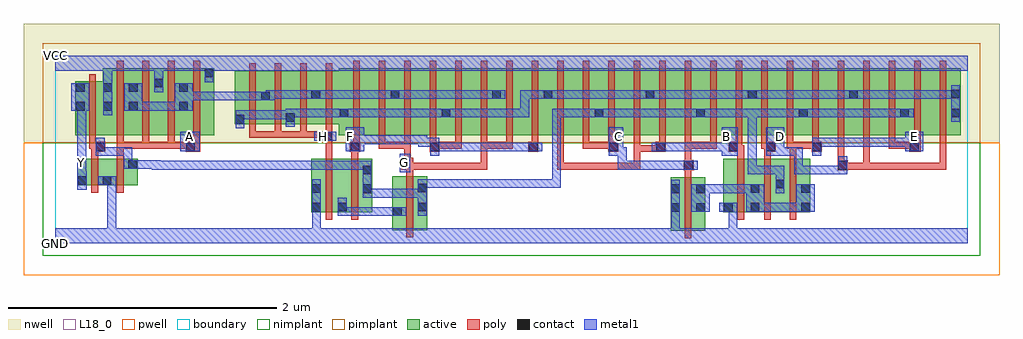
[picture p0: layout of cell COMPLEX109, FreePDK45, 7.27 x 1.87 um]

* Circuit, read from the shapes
.subckt COMPLEX109 A B C D E F G GND H VCC Y
M1 GND n1 Y VSUBS nfet w=0.2u l=0.05u
M2 n1 A GND VSUBS nfet w=0.2u l=0.05u
M3 n2 H GND VSUBS nfet w=0.4u l=0.05u
M4 n1 F n2 VSUBS nfet w=0.4u l=0.05u
M5 n1 G n2 VSUBS nfet w=0.4u l=0.05u
M6 n3 C GND VSUBS nfet w=0.4u l=0.05u
M7 n3 B GND VSUBS nfet w=0.4u l=0.05u
M8 n1 D n3 VSUBS nfet w=0.4u l=0.05u
M9 n3 E n1 VSUBS nfet w=0.4u l=0.05u
M10 VCC n1 Y n4 pfet w=0.4u l=0.05u
M11 n5 A VCC n4 pfet w=0.5u l=0.05u m=4
M12 n5 H n6 n4 pfet w=0.4u l=0.05u m=4
M13 n7 F n6 n4 pfet w=0.5u l=0.05u
M14 n5 G n7 n4 pfet w=0.5u l=0.05u
M15 n8 G n5 n4 pfet w=0.5u l=0.05u
M16 n6 F n8 n4 pfet w=0.5u l=0.05u
M17 n9 F n6 n4 pfet w=0.5u l=0.05u
M18 n5 G n9 n4 pfet w=0.5u l=0.05u
M19 n10 G n5 n4 pfet w=0.5u l=0.05u
M20 n6 F n10 n4 pfet w=0.5u l=0.05u
M21 n11 B n6 n4 pfet w=0.5u l=0.05u
M22 n1 C n11 n4 pfet w=0.5u l=0.05u
M23 n12 C n1 n4 pfet w=0.5u l=0.05u
M24 n6 B n12 n4 pfet w=0.5u l=0.05u
M25 n13 B n6 n4 pfet w=0.5u l=0.05u
M26 n1 C n13 n4 pfet w=0.5u l=0.05u
M27 n14 C n1 n4 pfet w=0.5u l=0.05u
M28 n6 B n14 n4 pfet w=0.5u l=0.05u
M29 n15 D n6 n4 pfet w=0.5u l=0.05u
M30 n1 E n15 n4 pfet w=0.5u l=0.05u
M31 n16 E n1 n4 pfet w=0.5u l=0.05u
M32 n6 D n16 n4 pfet w=0.5u l=0.05u
M33 n17 D n6 n4 pfet w=0.5u l=0.05u
M34 n1 E n17 n4 pfet w=0.5u l=0.05u
M35 n18 E n1 n4 pfet w=0.5u l=0.05u
M36 n6 D n18 n4 pfet w=0.5u l=0.05u
.ends

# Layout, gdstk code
import gdstk
lib = gdstk.Library(unit=1e-6, precision=1e-09)
def R(c, l, rs):  # rectangles x0, y0, x1, y1
    for r in rs: c.add(gdstk.rectangle(r[:2], r[2:], *l))
def A(c, l, x, y, w, h, nx, ny, dx, dy):  # array of equal rectangles
    R(c, l, [(x+i*dx, y+j*dy, x+i*dx+w, y+j*dy+h) for i in range(nx) for j in range(ny)])
active = (1, 0)
pwell = (2, 0)
nwell = (3, 0)
nimplant = (4, 0)
pimplant = (5, 0)
poly = (9, 0)
contact = (10, 0)
metal1 = (11, 0)
L18_0 = (18, 0)
boundary = (235, 0)

complex109 = lib.new_cell('COMPLEX109')
A(complex109, active, 2.115, 0.807, 0.225, 0.5, 3, 1, 0.38, 0)
A(complex109, active, 3.48, 0.807, 0.23, 0.5, 3, 1, 0.38, 0)
A(complex109, active, 3.635, 0.807, 0.075, 0.393, 3, 1, 0.76, 0)
A(complex109, active, 3.635, 0.807, 0.225, 0.5, 3, 1, 0.38, 0)
A(complex109, active, 5.76, 0.807, 0.225, 0.5, 3, 1, 0.38, 0)
R(complex109, active, [(4.585,0.095,4.845,0.495), (4.585,0.095,4.66,0.495), (2.512,0.1,2.772,0.5), (2.512,0.2,2.587,0.377), (2.697,0.2,2.772,0.5), (4.77,0.2,4.845,0.495), (1.91,0.232,1.985,0.492), (1.91,0.232,2.177,0.632), (2.102,0.232,2.177,0.492), (2.102,0.232,2.362,0.632), (4.977,0.232,5.052,0.492), (4.977,0.232,5.252,0.632), (5.177,0.232,5.252,0.492), (5.177,0.232,5.437,0.632), (5.362,0.232,5.627,0.632), (5.552,0.232,5.627,0.492), (2.287,0.295,2.362,0.632), (5.362,0.295,5.437,0.632), (0.165,0.432,0.24,0.632), (0.165,0.432,0.425,0.632), (0.35,0.432,0.615,0.632), (0.35,0.432,0.425,0.507), (0.54,0.432,0.615,0.632), (0.15,0.807,0.225,1.2), (0.15,0.807,0.43,1.207), (0.355,0.807,0.43,1.307), (0.355,0.807,0.62,1.307), (0.545,0.807,0.62,1.2), (0.545,0.807,0.81,1.307), (0.735,0.807,0.81,1.307), (0.735,0.807,0.995,1.307), (0.92,0.807,0.995,1.2), (0.92,0.807,1.185,1.307), (1.11,0.807,1.185,1.307), (2.34,0.807,2.57,1.307), (2.495,0.807,2.57,1.2), (2.72,0.807,2.95,1.307), (2.875,0.807,2.95,1.07), (3.1,0.807,3.325,1.307), (3.25,0.807,3.325,1.2), (3.25,0.807,3.48,1.307), (4.015,0.807,4.09,1.07), (4.62,0.807,4.845,1.307), (4.77,0.807,5,1.307), (4.77,0.807,4.845,1.07), (5,0.807,5.23,1.307), (5.155,0.807,5.38,1.307), (5.38,0.807,5.61,1.307), (5.535,0.807,5.76,1.307), (5.535,0.807,5.61,1.07), (5.91,0.807,5.985,1.2), (5.91,0.807,6.14,1.307), (6.29,0.807,6.52,1.307), (6.29,0.807,6.365,1.07), (6.67,0.807,6.745,1.2), (1.34,0.887,1.605,1.287), (1.34,0.887,1.415,1.047), (1.53,0.887,1.79,1.287), (1.715,0.887,1.98,1.287), (1.905,0.887,2.19,1.287), (1.53,0.9,1.605,1.2), (1.715,0.9,1.79,1.07), (1.905,0.907,1.98,1.2), (2.115,0.907,2.19,1.07)])
R(complex109, pwell, [(-0.235,-0.235,7.035,0.75)])
R(complex109, nwell, [(-0.235,0.75,7.035,1.635)])
R(complex109, nimplant, [(-0.09,-0.09,6.89,0.75)])
R(complex109, pimplant, [(-0.09,0.75,6.89,1.49)])
A(complex109, poly, 0.46, 0.707, 0.05, 0.095, 4, 1, 0.19, 0)
A(complex109, poly, 2.22, 0.707, 0.05, 0.05, 3, 1, 0.19, 0)
A(complex109, poly, 2.22, 0.707, 0.05, 0.095, 8, 1, 0.19, 0)
A(complex109, poly, 2.41, 0.707, 0.24, 0.05, 4, 1, 0.76, 0)
A(complex109, poly, 2.98, 0.707, 0.05, 0.05, 3, 1, 0.19, 0)
A(complex109, poly, 4.5, 0.707, 0.05, 0.095, 7, 1, 0.19, 0)
A(complex109, poly, 0.46, 0.752, 0.05, 0.61, 4, 1, 0.19, 0)
A(complex109, poly, 2.22, 0.752, 0.05, 0.61, 24, 1, 0.19, 0)
A(complex109, poly, 1.445, 0.787, 0.05, 0.095, 4, 1, 0.19, 0)
A(complex109, poly, 1.445, 0.787, 0.24, 0.05, 3, 1, 0.19, 0)
A(complex109, poly, 1.445, 0.832, 0.05, 0.51, 4, 1, 0.19, 0)
R(complex109, poly, [(4.69,0.04,4.74,0.55), (2.617,0.045,2.667,0.555), (2.015,0.177,2.065,0.687), (2.207,0.177,2.257,0.687), (5.082,0.177,5.132,0.687), (5.282,0.177,5.332,0.687), (5.472,0.177,5.522,0.687), (0.27,0.377,0.32,0.687), (0.46,0.377,0.51,0.687), (4.69,0.5,4.74,0.595), (2.617,0.505,2.667,0.6), (4.682,0.545,4.757,0.62), (5.83,0.545,5.905,0.62), (2.577,0.55,2.667,0.637), (2.617,0.55,2.872,0.6), (2.822,0.55,2.872,0.6), (2.822,0.55,2.872,0.6), (2.822,0.55,2.872,0.6), (2.822,0.55,3.087,0.6), (3.037,0.55,3.087,0.6), (3.037,0.55,3.087,0.6), (3.037,0.55,3.087,0.6), (3.037,0.55,3.22,0.6), (3.17,0.55,3.22,0.6), (3.17,0.55,3.22,0.6), (3.17,0.55,3.22,0.6), (3.17,0.55,3.22,0.757), (3.74,0.55,3.79,0.802), (3.74,0.55,3.79,0.6), (3.74,0.55,3.79,0.6), (3.74,0.55,3.79,0.6), (3.74,0.55,3.79,0.6), (3.74,0.55,3.79,0.6), (3.74,0.55,3.98,0.6), (3.93,0.55,3.98,0.6), (3.93,0.55,4.112,0.6), (4.062,0.55,4.112,0.6), (4.062,0.55,4.112,0.6), (4.062,0.55,4.112,0.6), (4.062,0.55,4.36,0.6), (4.31,0.55,4.36,0.6), (4.31,0.55,4.36,0.732), (5.855,0.55,5.905,0.6), (5.855,0.55,5.905,0.6), (5.855,0.55,6.07,0.6), (6.02,0.55,6.07,0.802), (6.02,0.55,6.07,0.6), (6.02,0.55,6.07,0.6), (6.02,0.55,6.07,0.6), (6.02,0.55,6.202,0.6), (6.152,0.55,6.202,0.6), (6.152,0.55,6.202,0.6), (6.152,0.55,6.202,0.6), (6.152,0.55,6.392,0.6), (6.342,0.55,6.392,0.6), (6.342,0.55,6.392,0.6), (6.342,0.55,6.392,0.6), (6.342,0.55,6.64,0.6), (6.59,0.55,6.64,0.802), (6.59,0.55,6.64,0.6), (6.59,0.55,6.64,0.6), (6.59,0.55,6.64,0.6), (6.59,0.55,6.64,0.6), (6.59,0.55,6.64,0.6), (4.69,0.57,4.74,0.757), (5.83,0.57,5.88,0.62), (5.83,0.57,5.88,0.62), (5.83,0.57,5.88,0.802), (2.6,0.587,2.65,0.757), (0.27,0.637,0.32,0.732), (0.46,0.637,0.51,0.757), (2.015,0.637,2.065,0.812), (2.207,0.637,2.257,0.732), (5.082,0.637,5.132,0.732), (5.282,0.637,5.332,0.732), (5.472,0.637,5.522,0.757), (0.27,0.682,0.375,0.757), (0.972,0.682,1.08,0.757), (2.197,0.682,2.272,0.757), (2.79,0.682,2.865,0.757), (3.525,0.682,3.6,0.757), (4.12,0.682,4.195,0.757), (4.31,0.682,4.36,0.732), (4.31,0.682,4.36,0.732), (4.31,0.682,4.36,0.732), (4.31,0.682,4.525,0.732), (4.31,0.682,4.36,0.802), (4.475,0.682,4.525,0.732), (4.475,0.682,4.525,0.732), (4.475,0.682,4.55,0.757), (5.017,0.682,5.12,0.757), (5.07,0.682,5.12,0.732), (5.07,0.682,5.132,0.732), (5.282,0.682,5.367,0.757), (5.637,0.682,5.712,0.757), (6.362,0.682,6.45,0.757), (0.255,0.707,0.305,0.802), (0.255,0.707,0.32,0.757), (0.27,0.707,0.32,0.757), (0.46,0.707,0.51,0.757), (0.46,0.707,0.51,0.757), (0.46,0.707,0.51,0.757), (0.46,0.707,0.51,0.757), (0.46,0.707,0.51,0.757), (0.46,0.707,0.7,0.757), (0.65,0.707,0.7,0.757), (0.65,0.707,0.7,0.757), (0.65,0.707,0.7,0.757), (0.65,0.707,0.89,0.757), (0.84,0.707,0.89,0.757), (0.84,0.707,0.89,0.757), (0.84,0.707,0.89,0.757), (0.84,0.707,1.022,0.757), (2.22,0.707,2.27,0.757), (2.6,0.707,2.65,0.757), (2.6,0.707,2.65,0.757), (2.815,0.707,3.03,0.757), (2.98,0.707,3.03,0.757), (2.98,0.707,3.03,0.757), (3.36,0.707,3.41,0.757), (3.36,0.707,3.41,0.757), (3.93,0.707,3.98,0.757), (3.93,0.707,3.98,0.757), (3.93,0.707,3.98,0.757), (3.93,0.707,3.98,0.802), (4.12,0.707,4.17,0.802), (4.69,0.707,4.74,0.757), (4.88,0.707,4.93,0.757), (4.88,0.707,4.93,0.757), (4.88,0.707,4.93,0.757), (5.26,0.707,5.332,0.757), (5.282,0.707,5.332,0.757), (5.45,0.707,5.522,0.757), (5.472,0.707,5.522,0.757), (5.472,0.707,5.522,0.757), (5.472,0.707,5.522,0.757), (5.472,0.707,5.522,0.757), (5.472,0.707,5.687,0.757), (6.21,0.707,6.26,0.757), (6.21,0.707,6.26,0.802), (6.21,0.707,6.412,0.757), (6.362,0.707,6.412,0.757), (6.362,0.707,6.412,0.757), (6.4,0.707,6.45,0.802), (0.255,0.752,0.305,1.262), (1.99,0.762,2.065,0.837), (1.445,0.787,1.495,0.837), (1.635,0.787,1.685,0.837), (1.635,0.787,1.685,0.837), (1.635,0.787,1.685,0.837), (1.825,0.787,1.875,0.837), (1.825,0.787,1.875,0.837), (1.825,0.787,1.875,0.837), (2.015,0.787,2.065,0.837), (2.015,0.787,2.065,0.837), (2.015,0.787,2.065,0.837), (2.015,0.787,2.065,0.837)])
A(complex109, contact, 3.64, 1.077, 0.065, 0.065, 3, 1, 0.76, 0)
R(complex109, contact, [(2.517,0.205,2.582,0.27), (4.59,0.235,4.655,0.3), (4.775,0.235,4.84,0.3), (1.915,0.237,1.98,0.302), (4.982,0.237,5.047,0.302), (5.182,0.237,5.247,0.302), (5.557,0.237,5.622,0.302), (2.107,0.24,2.172,0.305), (2.702,0.24,2.767,0.305), (2.292,0.375,2.357,0.44), (4.59,0.375,4.655,0.44), (4.775,0.375,4.84,0.44), (1.915,0.377,1.98,0.442), (5.182,0.377,5.247,0.442), (5.557,0.377,5.622,0.442), (2.702,0.38,2.767,0.445), (5.367,0.41,5.432,0.475), (0.17,0.437,0.235,0.502), (0.355,0.437,0.42,0.502), (2.292,0.515,2.357,0.58), (4.687,0.55,4.752,0.615), (5.835,0.55,5.9,0.615), (0.545,0.555,0.61,0.62), (2.582,0.567,2.647,0.632), (0.305,0.687,0.37,0.752), (0.977,0.687,1.042,0.752), (2.202,0.687,2.267,0.752), (2.795,0.687,2.86,0.752), (3.53,0.687,3.595,0.752), (4.125,0.687,4.19,0.752), (4.48,0.687,4.545,0.752), (5.022,0.687,5.087,0.752), (5.297,0.687,5.362,0.752), (5.642,0.687,5.707,0.752), (6.367,0.687,6.432,0.752), (1.995,0.767,2.06,0.832), (1.345,0.892,1.41,0.957), (1.72,0.905,1.785,0.97), (2.12,0.94,2.185,1.005), (2.88,0.94,2.945,1.005), (4.02,0.94,4.085,1.005), (4.775,0.94,4.84,1.005), (5.54,0.94,5.605,1.005), (6.295,0.94,6.36,1.005), (6.675,0.94,6.74,1.005), (0.155,0.99,0.22,1.055), (0.36,0.99,0.425,1.055), (0.55,0.99,0.615,1.055), (0.925,0.99,0.99,1.055), (1.535,1.065,1.6,1.13), (1.91,1.077,1.975,1.142), (2.5,1.077,2.565,1.142), (3.255,1.077,3.32,1.142), (5.915,1.077,5.98,1.142), (6.675,1.08,6.74,1.145), (0.155,1.13,0.22,1.195), (0.36,1.13,0.425,1.195), (0.55,1.13,0.615,1.195), (0.925,1.13,0.99,1.195), (0.74,1.162,0.805,1.227), (1.115,1.237,1.18,1.302)])
A(complex109, metal1, 3.605, 1.077, 0.135, 0.065, 3, 1, 0.76, 0)
R(complex109, metal1, [(0,0,6.8,0.115), (0.39,0.05,0.455,0.115), (0.39,0.05,0.455,0.115), (0.39,0.05,0.455,0.502), (1.915,0.05,1.98,0.267), (4.59,0.05,4.655,0.265), (5.017,0.05,5.082,0.302), (4.59,0.2,4.655,0.475), (1.915,0.202,1.98,0.477), (2.107,0.205,2.172,0.27), (2.107,0.205,2.172,0.27), (2.107,0.205,2.172,0.34), (2.107,0.205,2.357,0.27), (2.292,0.205,2.357,0.27), (2.292,0.205,2.46,0.27), (2.395,0.205,2.46,0.27), (2.395,0.205,2.547,0.27), (2.482,0.205,2.617,0.27), (2.702,0.205,2.767,0.48), (4.74,0.235,4.875,0.44), (4.947,0.237,5.082,0.302), (5.147,0.237,5.282,0.442), (5.217,0.237,5.42,0.302), (5.355,0.237,5.42,0.302), (5.355,0.237,5.42,0.302), (5.355,0.237,5.42,0.302), (5.355,0.237,5.57,0.302), (5.505,0.237,5.57,0.302), (5.505,0.237,5.587,0.302), (5.522,0.237,5.657,0.442), (2.292,0.34,2.357,0.615), (2.292,0.342,2.462,0.407), (2.397,0.342,2.462,0.407), (2.397,0.342,2.63,0.407), (2.565,0.342,2.63,0.407), (2.565,0.342,2.63,0.407), (2.565,0.342,2.63,0.407), (2.565,0.342,2.767,0.407), (4.81,0.375,4.875,0.44), (4.81,0.375,4.875,0.44), (4.81,0.375,5.052,0.44), (4.987,0.375,5.052,0.44), (4.987,0.375,5.052,0.44), (4.987,0.375,5.052,0.44), (4.987,0.375,5.212,0.44), (5.367,0.375,5.432,0.51), (0.167,0.402,0.235,0.537), (2.702,0.415,2.767,0.48), (2.702,0.415,2.767,0.48), (2.702,0.415,2.997,0.48), (2.932,0.415,2.997,0.48), (2.932,0.415,2.997,0.48), (2.932,0.415,2.997,0.48), (2.932,0.415,3.147,0.48), (3.082,0.415,3.147,0.48), (3.082,0.415,3.147,0.48), (3.082,0.415,3.147,0.48), (3.082,0.415,3.355,0.48), (3.29,0.415,3.355,0.48), (3.29,0.415,3.355,0.48), (3.29,0.415,3.355,0.48), (3.29,0.415,3.492,0.48), (3.427,0.415,3.492,0.48), (3.427,0.415,3.492,0.48), (3.427,0.415,3.492,0.48), (3.427,0.415,3.767,0.48), (3.702,0.415,3.767,0.48), (3.702,0.415,3.767,1.005), (0.32,0.437,0.455,0.502), (0.39,0.437,0.455,0.502), (0.39,0.437,0.455,0.502), (5.367,0.445,5.432,0.51), (5.367,0.445,5.432,0.58), (0.167,0.472,0.232,0.597), (5.16,0.515,5.225,0.58), (5.16,0.515,5.432,0.58), (5.16,0.515,5.225,1.005), (5.505,0.515,5.707,0.58), (5.505,0.515,5.57,0.717), (5.642,0.515,5.707,0.58), (5.642,0.515,5.777,0.58), (5.712,0.515,5.777,0.58), (5.712,0.515,5.9,0.58), (5.835,0.515,5.9,0.65), (0.167,0.532,0.232,0.667), (2.567,0.532,2.647,0.667), (0.722,0.55,1.042,0.615), (0.722,0.55,0.787,0.62), (0.977,0.55,1.042,0.615), (0.977,0.55,1.18,0.615), (1.115,0.55,1.18,0.615), (1.115,0.55,1.18,0.615), (1.115,0.55,1.18,0.615), (1.115,0.55,1.427,0.615), (1.362,0.55,1.427,0.615), (1.362,0.55,1.427,0.615), (1.362,0.55,1.427,0.615), (1.362,0.55,1.635,0.615), (1.57,0.55,1.635,0.615), (1.57,0.55,1.635,0.615), (1.57,0.55,1.635,0.615), (1.57,0.55,1.772,0.615), (1.707,0.55,1.772,0.615), (1.707,0.55,1.772,0.615), (1.707,0.55,1.772,0.615), (1.707,0.55,1.922,0.615), (1.857,0.55,1.922,0.615), (1.857,0.55,1.922,0.615), (1.857,0.55,1.922,0.615), (1.857,0.55,2.147,0.615), (2.082,0.55,2.147,0.615), (2.082,0.55,2.147,0.615), (2.082,0.55,2.147,0.615), (2.082,0.55,2.357,0.615), (4.192,0.55,4.257,0.615), (4.192,0.55,4.37,0.615), (4.192,0.55,4.257,0.717), (4.305,0.55,4.37,0.615), (4.305,0.55,4.507,0.615), (4.442,0.55,4.507,0.615), (4.442,0.55,4.507,0.615), (4.442,0.55,4.507,0.615), (4.442,0.55,4.667,0.615), (4.602,0.55,4.667,0.615), (4.602,0.55,4.717,0.615), (4.652,0.55,4.787,0.615), (0.51,0.555,0.645,0.62), (0.51,0.555,0.575,0.717), (0.58,0.555,0.645,0.62), (0.58,0.555,0.645,0.62), (0.58,0.555,0.787,0.62), (0.722,0.555,0.787,0.62), (0.722,0.555,0.787,0.62), (0.167,0.602,0.232,1.055), (0.305,0.652,0.37,0.717), (0.305,0.652,0.37,0.717), (0.305,0.652,0.507,0.717), (0.305,0.652,0.37,0.787), (0.442,0.652,0.507,0.717), (0.442,0.652,0.575,0.717), (0.51,0.652,0.575,0.717), (2.795,0.652,2.86,0.787), (4.125,0.652,4.232,0.867), (4.167,0.652,4.257,0.717), (4.192,0.652,4.257,0.717), (4.967,0.652,5.087,0.867), (5.297,0.652,5.432,0.867), (5.367,0.652,5.432,0.717), (5.367,0.652,5.432,0.717), (5.367,0.652,5.57,0.717), (5.505,0.652,5.57,0.717), (5.505,0.652,5.57,0.717), (5.642,0.652,5.707,0.787), (0.932,0.687,1.077,0.832), (2.167,0.687,2.302,0.867), (2.795,0.687,2.997,0.752), (2.932,0.687,2.997,0.752), (2.932,0.687,2.997,0.752), (2.932,0.687,2.997,0.752), (2.932,0.687,3.147,0.752), (3.082,0.687,3.147,0.752), (3.082,0.687,3.147,0.752), (3.082,0.687,3.147,0.752), (3.082,0.687,3.355,0.752), (3.29,0.687,3.355,0.752), (3.29,0.687,3.355,0.752), (3.29,0.687,3.355,0.752), (3.29,0.687,3.492,0.752), (3.427,0.687,3.492,0.752), (3.427,0.687,3.56,0.752), (3.495,0.687,3.63,0.752), (4.445,0.687,4.58,0.752), (4.515,0.687,4.667,0.752), (4.602,0.687,4.667,0.752), (4.602,0.687,4.717,0.752), (4.652,0.687,4.717,0.752), (4.652,0.687,4.855,0.752), (4.79,0.687,4.855,0.752), (4.79,0.687,4.855,0.752), (4.79,0.687,4.855,0.752), (4.79,0.687,5.032,0.752), (4.967,0.687,5.032,0.752), (4.967,0.687,5.032,0.752), (6.332,0.687,6.467,0.832), (2.707,0.722,2.86,0.787), (2.707,0.722,2.772,0.805), (5.642,0.722,5.777,0.787), (5.712,0.722,5.777,0.787), (5.712,0.722,5.845,0.787), (5.78,0.722,5.845,0.787), (5.78,0.722,5.982,0.787), (5.917,0.722,5.982,0.787), (5.917,0.722,5.982,0.787), (5.917,0.722,5.982,0.787), (5.917,0.722,6.187,0.787), (6.122,0.722,6.187,0.787), (6.122,0.722,6.187,0.787), (6.122,0.722,6.187,0.787), (6.122,0.722,6.397,0.787), (6.332,0.722,6.397,0.787), (6.332,0.722,6.397,0.787), (2.237,0.74,2.357,0.805), (2.292,0.74,2.357,0.805), (2.292,0.74,2.46,0.805), (2.395,0.74,2.46,0.805), (2.395,0.74,2.495,0.805), (2.43,0.74,2.495,0.805), (2.43,0.74,2.495,0.805), (2.43,0.74,2.495,0.805), (2.43,0.74,2.63,0.805), (2.565,0.74,2.63,0.805), (2.565,0.74,2.772,0.805), (1.932,0.767,2.095,0.832), (1.345,0.857,1.41,0.992), (1.72,0.87,1.785,1.005), (6.675,0.905,6.74,1.18), (1.345,0.927,1.41,0.992), (1.345,0.927,1.41,0.992), (1.345,0.927,1.565,0.992), (1.5,0.927,1.565,0.992), (1.5,0.927,1.565,0.992), (1.5,0.927,1.565,0.992), (1.5,0.927,1.785,0.992), (1.72,0.94,1.785,1.005), (1.72,0.94,1.785,1.005), (1.72,0.94,1.922,1.005), (1.857,0.94,1.922,1.005), (1.857,0.94,1.922,1.005), (1.857,0.94,1.922,1.005), (1.857,0.94,2.15,1.005), (2.085,0.94,2.22,1.005), (2.155,0.94,2.22,1.005), (2.155,0.94,2.22,1.005), (2.155,0.94,2.357,1.005), (2.292,0.94,2.357,1.005), (2.292,0.94,2.46,1.005), (2.395,0.94,2.46,1.005), (2.395,0.94,2.6,1.005), (2.535,0.94,2.6,1.005), (2.535,0.94,2.6,1.005), (2.535,0.94,2.6,1.005), (2.535,0.94,2.767,1.005), (2.702,0.94,2.767,1.005), (2.702,0.94,2.767,1.005), (2.702,0.94,2.767,1.005), (2.702,0.94,2.91,1.005), (2.845,0.94,2.98,1.005), (2.915,0.94,3.01,1.005), (2.945,0.94,3.01,1.005), (2.945,0.94,3.147,1.005), (3.082,0.94,3.147,1.005), (3.082,0.94,3.147,1.005), (3.082,0.94,3.147,1.005), (3.082,0.94,3.285,1.005), (3.22,0.94,3.285,1.005), (3.22,0.94,3.285,1.005), (3.22,0.94,3.285,1.005), (3.22,0.94,3.532,1.005), (3.467,0.94,3.532,1.005), (3.467,0.94,3.532,1.142), (3.702,0.94,3.767,1.005), (3.702,0.94,3.767,1.005), (3.702,0.94,3.767,1.005), (3.702,0.94,3.767,1.005), (3.702,0.94,3.767,1.005), (3.702,0.94,3.767,1.005), (3.702,0.94,3.767,1.005), (3.702,0.94,3.912,1.005), (3.847,0.94,3.912,1.005), (3.847,0.94,4.05,1.005), (3.985,0.94,4.05,1.005), (3.985,0.94,4.05,1.005), (3.985,0.94,4.12,1.005), (4.055,0.94,4.19,1.005), (4.125,0.94,4.19,1.005), (4.125,0.94,4.257,1.005), (4.192,0.94,4.257,1.005), (4.192,0.94,4.37,1.005), (4.305,0.94,4.37,1.005), (4.305,0.94,4.507,1.005), (4.442,0.94,4.507,1.005), (4.442,0.94,4.507,1.005), (4.442,0.94,4.507,1.005), (4.442,0.94,4.667,1.005), (4.602,0.94,4.667,1.005), (4.602,0.94,4.717,1.005), (4.652,0.94,4.717,1.005), (4.652,0.94,4.805,1.005), (4.74,0.94,4.875,1.005), (4.81,0.94,4.875,1.005), (4.81,0.94,4.875,1.005), (4.81,0.94,5.052,1.005), (4.987,0.94,5.052,1.005), (4.987,0.94,5.052,1.005), (4.987,0.94,5.052,1.005), (4.987,0.94,5.225,1.005), (5.16,0.94,5.225,1.005), (5.16,0.94,5.225,1.005), (5.16,0.94,5.225,1.005), (5.16,0.94,5.225,1.005), (5.16,0.94,5.225,1.005), (5.16,0.94,5.42,1.005), (5.355,0.94,5.42,1.005), (5.355,0.94,5.42,1.005), (5.355,0.94,5.42,1.005), (5.355,0.94,5.57,1.005), (5.505,0.94,5.57,1.005), (5.505,0.94,5.57,1.005), (5.505,0.94,5.64,1.005), (5.575,0.94,5.707,1.005), (5.642,0.94,5.707,1.005), (5.642,0.94,5.777,1.005), (5.712,0.94,5.777,1.005), (5.712,0.94,5.845,1.005), (5.78,0.94,5.845,1.005), (5.78,0.94,5.982,1.005), (5.917,0.94,5.982,1.005), (5.917,0.94,5.982,1.005), (5.917,0.94,5.982,1.005), (5.917,0.94,6.152,1.005), (6.087,0.94,6.152,1.005), (6.087,0.94,6.152,1.005), (6.087,0.94,6.152,1.005), (6.087,0.94,6.325,1.005), (6.26,0.94,6.395,1.005), (0.36,0.955,0.425,1.23), (0.12,0.99,0.255,1.195), (0.167,0.99,0.232,1.055), (0.167,0.99,0.232,1.055), (0.515,0.99,0.65,1.195), (0.585,0.99,0.65,1.055), (0.585,0.99,0.65,1.055), (0.585,0.99,0.817,1.055), (0.752,0.99,0.817,1.055), (0.752,0.99,0.817,1.055), (0.752,0.99,0.817,1.055), (0.752,0.99,0.955,1.055), (0.89,0.99,1.025,1.195), (0.96,1.065,1.025,1.13), (0.96,1.065,1.025,1.13), (0.96,1.065,1.18,1.13), (1.115,1.065,1.18,1.13), (1.115,1.065,1.317,1.13), (1.252,1.065,1.317,1.13), (1.252,1.065,1.317,1.13), (1.252,1.065,1.317,1.13), (1.252,1.065,1.565,1.13), (1.5,1.065,1.635,1.13), (1.57,1.065,1.635,1.13), (1.57,1.065,1.635,1.13), (1.57,1.065,1.635,1.13), (1.57,1.065,1.635,1.142), (1.57,1.077,1.772,1.142), (1.707,1.077,1.772,1.142), (1.707,1.077,1.772,1.142), (1.707,1.077,1.772,1.142), (1.707,1.077,1.94,1.142), (1.875,1.077,2.01,1.142), (1.945,1.077,2.01,1.142), (1.945,1.077,2.01,1.142), (1.945,1.077,2.147,1.142), (2.082,1.077,2.147,1.142), (2.082,1.077,2.147,1.142), (2.082,1.077,2.147,1.142), (2.082,1.077,2.357,1.142), (2.292,1.077,2.357,1.142), (2.292,1.077,2.44,1.142), (2.375,1.077,2.44,1.142), (2.375,1.077,2.53,1.142), (2.465,1.077,2.6,1.142), (2.535,1.077,2.6,1.142), (2.535,1.077,2.6,1.142), (2.535,1.077,2.772,1.142), (2.707,1.077,2.772,1.142), (2.707,1.077,2.772,1.142), (2.707,1.077,2.772,1.142), (2.707,1.077,3.01,1.142), (2.945,1.077,3.01,1.142), (2.945,1.077,3.01,1.142), (2.945,1.077,3.01,1.142), (2.945,1.077,3.147,1.142), (3.082,1.077,3.147,1.142), (3.082,1.077,3.147,1.142), (3.082,1.077,3.147,1.142), (3.082,1.077,3.285,1.142), (3.22,1.077,3.355,1.142), (3.467,1.077,3.532,1.142), (3.467,1.077,3.532,1.142), (3.467,1.077,3.532,1.142), (3.467,1.077,3.67,1.142), (3.675,1.077,3.912,1.142), (3.847,1.077,3.912,1.142), (3.847,1.077,3.912,1.142), (3.847,1.077,3.912,1.142), (3.847,1.077,4.052,1.142), (3.987,1.077,4.052,1.142), (3.987,1.077,4.052,1.142), (3.987,1.077,4.052,1.142), (3.987,1.077,4.19,1.142), (4.125,1.077,4.19,1.142), (4.125,1.077,4.257,1.142), (4.192,1.077,4.257,1.142), (4.192,1.077,4.37,1.142), (4.305,1.077,4.37,1.142), (4.305,1.077,4.43,1.142), (4.435,1.077,4.58,1.142), (4.515,1.077,4.58,1.142), (4.515,1.077,4.667,1.142), (4.602,1.077,4.667,1.142), (4.602,1.077,4.717,1.142), (4.652,1.077,4.717,1.142), (4.652,1.077,4.855,1.142), (4.79,1.077,4.855,1.142), (4.79,1.077,4.855,1.142), (4.79,1.077,4.855,1.142), (4.79,1.077,5.052,1.142), (4.987,1.077,5.052,1.142), (4.987,1.077,5.052,1.142), (4.987,1.077,5.052,1.142), (4.987,1.077,5.19,1.142), (5.195,1.077,5.42,1.142), (5.355,1.077,5.42,1.142), (5.355,1.077,5.42,1.142), (5.355,1.077,5.42,1.142), (5.355,1.077,5.57,1.142), (5.505,1.077,5.57,1.142), (5.505,1.077,5.57,1.142), (5.505,1.077,5.57,1.142), (5.505,1.077,5.707,1.142), (5.642,1.077,5.707,1.142), (5.642,1.077,5.777,1.142), (5.712,1.077,5.777,1.142), (5.712,1.077,5.845,1.142), (5.78,1.077,5.845,1.142), (5.78,1.077,5.945,1.142), (5.88,1.077,6.015,1.142), (5.95,1.077,6.015,1.142), (5.95,1.077,6.015,1.142), (5.95,1.077,6.152,1.142), (6.087,1.077,6.152,1.142), (6.087,1.077,6.152,1.142), (6.087,1.077,6.152,1.142), (6.087,1.077,6.465,1.142), (6.4,1.077,6.465,1.142), (6.4,1.077,6.602,1.142), (6.537,1.077,6.602,1.142), (6.537,1.077,6.602,1.142), (6.537,1.077,6.602,1.142), (6.537,1.077,6.74,1.142), (6.675,1.077,6.74,1.142), (6.675,1.077,6.74,1.142), (0.74,1.127,0.805,1.262), (0.36,1.165,0.425,1.35), (0.74,1.197,0.805,1.35), (1.115,1.202,1.18,1.337), (1.115,1.272,1.18,1.35), (0,1.285,6.8,1.4)])
R(complex109, L18_0, [(0,0,6.8,0.115), (0.39,0.05,0.455,0.115), (0.39,0.05,0.455,0.115), (0.39,0.05,0.455,0.502), (1.915,0.05,1.98,0.267), (4.59,0.05,4.655,0.265), (5.017,0.05,5.082,0.302), (4.59,0.2,4.655,0.475), (1.915,0.202,1.98,0.477), (4.947,0.237,5.082,0.302), (0.167,0.402,0.235,0.537), (0.32,0.437,0.455,0.502), (0.39,0.437,0.455,0.502), (0.39,0.437,0.455,0.502), (0.167,0.472,0.232,0.597), (5.505,0.515,5.707,0.58), (5.505,0.515,5.57,0.717), (5.642,0.515,5.707,0.58), (5.642,0.515,5.777,0.58), (5.712,0.515,5.777,0.58), (5.712,0.515,5.9,0.58), (5.835,0.515,5.9,0.65), (0.167,0.532,0.232,0.667), (2.567,0.532,2.647,0.667), (4.192,0.55,4.257,0.615), (4.192,0.55,4.257,0.717), (4.192,0.55,4.37,0.615), (4.305,0.55,4.37,0.615), (4.305,0.55,4.507,0.615), (4.442,0.55,4.507,0.615), (4.442,0.55,4.507,0.615), (4.442,0.55,4.507,0.615), (4.442,0.55,4.667,0.615), (4.602,0.55,4.667,0.615), (4.602,0.55,4.717,0.615), (4.652,0.55,4.787,0.615), (0.167,0.567,0.232,0.632), (2.567,0.567,2.632,0.632), (0.167,0.602,0.232,1.055), (2.795,0.652,2.86,0.787), (4.125,0.652,4.232,0.867), (4.167,0.652,4.257,0.717), (4.192,0.652,4.257,0.717), (4.967,0.652,5.087,0.867), (5.297,0.652,5.432,0.867), (5.367,0.652,5.432,0.717), (5.367,0.652,5.432,0.717), (5.367,0.652,5.57,0.717), (5.505,0.652,5.57,0.717), (5.505,0.652,5.57,0.717), (5.642,0.652,5.707,0.787), (0.932,0.687,1.077,0.832), (2.167,0.687,2.302,0.867), (2.795,0.687,2.997,0.752), (2.932,0.687,2.997,0.752), (2.932,0.687,2.997,0.752), (2.932,0.687,2.997,0.752), (2.932,0.687,3.147,0.752), (3.082,0.687,3.147,0.752), (3.082,0.687,3.147,0.752), (3.082,0.687,3.147,0.752), (3.082,0.687,3.355,0.752), (3.29,0.687,3.355,0.752), (3.29,0.687,3.355,0.752), (3.29,0.687,3.355,0.752), (3.29,0.687,3.492,0.752), (3.427,0.687,3.492,0.752), (3.427,0.687,3.56,0.752), (3.495,0.687,3.63,0.752), (4.445,0.687,4.58,0.752), (4.515,0.687,4.667,0.752), (4.602,0.687,4.667,0.752), (4.602,0.687,4.717,0.752), (4.652,0.687,4.717,0.752), (4.652,0.687,4.855,0.752), (4.79,0.687,4.855,0.752), (4.79,0.687,4.855,0.752), (4.79,0.687,4.855,0.752), (4.79,0.687,5.032,0.752), (4.967,0.687,5.032,0.752), (4.967,0.687,5.032,0.752), (6.332,0.687,6.467,0.832), (2.707,0.722,2.772,0.805), (2.707,0.722,2.86,0.787), (5.642,0.722,5.777,0.787), (5.712,0.722,5.777,0.787), (5.712,0.722,5.845,0.787), (5.78,0.722,5.845,0.787), (5.78,0.722,5.982,0.787), (5.917,0.722,5.982,0.787), (5.917,0.722,5.982,0.787), (5.917,0.722,5.982,0.787), (5.917,0.722,6.187,0.787), (6.122,0.722,6.187,0.787), (6.122,0.722,6.187,0.787), (6.122,0.722,6.187,0.787), (6.122,0.722,6.397,0.787), (6.332,0.722,6.397,0.787), (6.332,0.722,6.397,0.787), (2.237,0.74,2.357,0.805), (2.292,0.74,2.357,0.805), (2.292,0.74,2.46,0.805), (2.395,0.74,2.46,0.805), (2.395,0.74,2.495,0.805), (2.43,0.74,2.495,0.805), (2.43,0.74,2.495,0.805), (2.43,0.74,2.495,0.805), (2.43,0.74,2.63,0.805), (2.565,0.74,2.63,0.805), (2.565,0.74,2.772,0.805), (0.967,0.767,1.032,0.832), (1.932,0.767,2.095,0.832), (1.967,0.767,2.032,0.832), (2.167,0.767,2.232,0.832), (4.167,0.767,4.232,0.832), (4.967,0.767,5.032,0.832), (5.367,0.767,5.432,0.832), (6.367,0.767,6.432,0.832), (0.36,0.955,0.425,1.23), (0.12,0.99,0.255,1.195), (0.167,0.99,0.232,1.055), (0.167,0.99,0.232,1.055), (0.74,1.127,0.805,1.262), (0.36,1.165,0.425,1.35), (0.74,1.197,0.805,1.35), (1.115,1.202,1.18,1.337), (1.115,1.272,1.18,1.35), (0,1.285,6.8,1.4)])
R(complex109, boundary, [(0,0,6.8,1.4)])
complex109.add(gdstk.Label('A', (1,0.8), layer=11, texttype=0))
complex109.add(gdstk.Label('B', (5,0.8), layer=11, texttype=0))
complex109.add(gdstk.Label('C', (4.2,0.8), layer=11, texttype=0))
complex109.add(gdstk.Label('D', (5.4,0.8), layer=11, texttype=0))
complex109.add(gdstk.Label('E', (6.4,0.8), layer=11, texttype=0))
complex109.add(gdstk.Label('F', (2.2,0.8), layer=11, texttype=0))
complex109.add(gdstk.Label('G', (2.6,0.6), layer=11, texttype=0))
complex109.add(gdstk.Label('H', (2,0.8), layer=11, texttype=0))
complex109.add(gdstk.Label('Y', (0.2,0.6), layer=11, texttype=0))
complex109.add(gdstk.Label('VCC', (0,1.4), layer=11, texttype=0))
complex109.add(gdstk.Label('GND', (0,0), layer=11, texttype=0))

lib.write_gds('COMPLEX109.gds')
